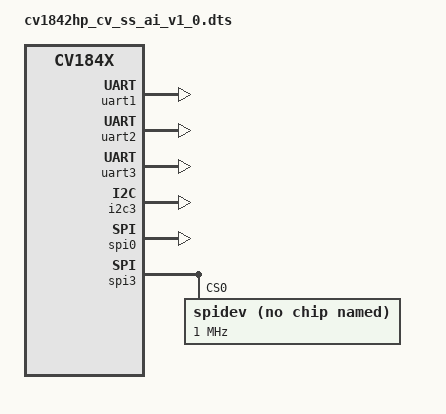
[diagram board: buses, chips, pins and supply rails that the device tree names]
/dts-v1/;
#include "cv184x_base_arm.dtsi"
#include "cv184x_asic_bga.dtsi"
#include "cv184x_asic_spinand.dtsi"
#include "cv184x_default_memmap.dtsi"

/ {
	aliases {
		spi0 = &spi0;
		spi3 = &spi3;
	};
};

&uart1 {
	status = "okay";
};

&uart2 {
	status = "okay";
};

&uart3 {
	status = "okay";
};

&i2c3 {
	status = "okay";
};

&spi0 {
	status = "okay";
};

&spi3 {
	status = "okay";
	num-cs = <1>;

	spidev@0 {
		compatible = "rohm,dh2228fv";
		reg = <0>;
		spi-max-frequency = <1000000>;
	};
};
